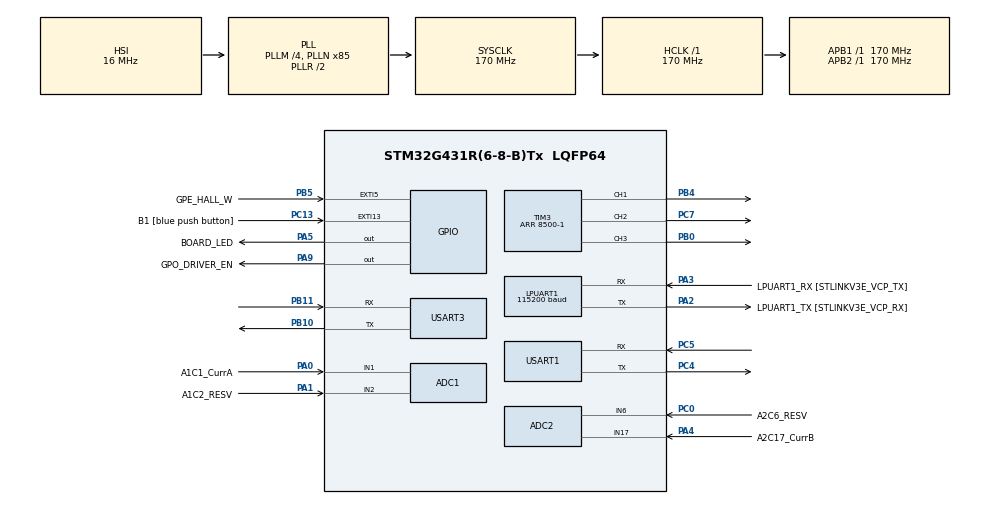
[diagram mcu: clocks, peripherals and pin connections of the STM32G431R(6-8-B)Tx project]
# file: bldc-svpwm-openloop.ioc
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ADC1.Channel-0\#ChannelRegularConversion=ADC_CHANNEL_1
ADC1.Channel-1\#ChannelRegularConversion=ADC_CHANNEL_2
ADC1.ContinuousConvMode=ENABLE
ADC1.DMAAccessModeView=ENABLE
ADC1.DMAContinuousRequests=ENABLE
ADC1.EOCSelection=ADC_EOC_SINGLE_CONV
ADC1.EnableInjectedConversion=DISABLE
ADC1.ExternalTrigConv=ADC_SOFTWARE_START
ADC1.Mode=ADC_DUALMODE_REGSIMULT
ADC1.NbrOfConversion=2
ADC1.NbrOfConversionFlag=1
ADC1.OffsetNumber-0\#ChannelRegularConversion=ADC_OFFSET_NONE
ADC1.OffsetNumber-1\#ChannelRegularConversion=ADC_OFFSET_NONE
ADC1.Rank-0\#ChannelRegularConversion=1
ADC1.Rank-1\#ChannelRegularConversion=2
ADC1.SamplingTime-0\#ChannelRegularConversion=ADC_SAMPLETIME_92CYCLES_5
ADC1.SamplingTime-1\#ChannelRegularConversion=ADC_SAMPLETIME_92CYCLES_5
ADC1.TwoSamplingDelay=ADC_TWOSAMPLINGDELAY_4CYCLES
ADC1.master=1
ADC2.Channel-0\#ChannelRegularConversion=ADC_CHANNEL_17
ADC2.Channel-1\#ChannelRegularConversion=ADC_CHANNEL_6
ADC2.ContinuousConvMode=ENABLE
ADC2.DMAAccessModeView=ENABLE
ADC2.DMAContinuousRequests=DISABLE
ADC2.EOCSelection=ADC_EOC_SINGLE_CONV
ADC2.Mode=ADC_DUALMODE_REGSIMULT
ADC2.NbrOfConversion=2
ADC2.NbrOfConversionFlag=1
ADC2.OffsetNumber-0\#ChannelRegularConversion=ADC_OFFSET_NONE
ADC2.OffsetNumber-1\#ChannelRegularConversion=ADC_OFFSET_NONE
ADC2.Rank-0\#ChannelRegularConversion=1
ADC2.Rank-1\#ChannelRegularConversion=2
ADC2.SamplingTime-0\#ChannelRegularConversion=ADC_SAMPLETIME_92CYCLES_5
ADC2.SamplingTime-1\#ChannelRegularConversion=ADC_SAMPLETIME_92CYCLES_5
ADC2.TwoSamplingDelay=ADC_TWOSAMPLINGDELAY_4CYCLES
Dma.ADC1.0.Direction=DMA_PERIPH_TO_MEMORY
Dma.ADC1.0.EventEnable=DISABLE
Dma.ADC1.0.Instance=DMA1_Channel1
Dma.ADC1.0.MemDataAlignment=DMA_MDATAALIGN_WORD
Dma.ADC1.0.MemInc=DMA_MINC_ENABLE
Dma.ADC1.0.Mode=DMA_CIRCULAR
Dma.ADC1.0.PeriphDataAlignment=DMA_PDATAALIGN_WORD
Dma.ADC1.0.PeriphInc=DMA_PINC_DISABLE
Dma.ADC1.0.Polarity=HAL_DMAMUX_REQ_GEN_RISING
Dma.ADC1.0.Priority=DMA_PRIORITY_LOW
Dma.ADC1.0.RequestNumber=1
Dma.ADC1.0.SignalID=NONE
Dma.ADC1.0.SyncEnable=DISABLE
Dma.ADC1.0.SyncPolarity=HAL_DMAMUX_SYNC_NO_EVENT
Dma.ADC1.0.SyncRequestNumber=1
Dma.ADC1.0.SyncSignalID=NONE
Dma.Request0=ADC1
LPUART1.BaudRate=115200
LPUART1.WordLength=UART_WORDLENGTH_8B
Mcu.Family=STM32G4
Mcu.Name=STM32G431R(6-8-B)Tx
Mcu.Package=LQFP64
NVIC.ADC1_2_IRQn=true\:0\:0\:false\:false\:true\:true\:true\:true
NVIC.DMA1_Channel1_IRQn=true\:0\:0\:false\:false\:true\:false\:true\:true
NVIC.LPUART1_IRQn=true\:0\:0\:false\:false\:true\:true\:true\:true
NVIC.PriorityGroup=NVIC_PRIORITYGROUP_4
NVIC.TIM3_IRQn=true\:0\:0\:false\:false\:true\:true\:true\:true
NVIC.TIM6_DAC_IRQn=true\:0\:0\:false\:false\:true\:true\:true\:true
PA0.GPIO_Label=A1C1_CurrA
PA0.Mode=IN1-Single-Ended
PA0.Signal=ADC1_IN1
PA1.GPIO_Label=A1C2_RESV
PA1.Mode=IN2-Single-Ended
PA1.Signal=ADC1_IN2
PA13.GPIO_Label=T_SWDIO
PA13.Mode=Serial_Wire
PA13.Signal=SYS_JTMS-SWDIO
PA14.GPIO_Label=T_SWCLK
PA14.Mode=Serial_Wire
PA14.Signal=SYS_JTCK-SWCLK
PA2.GPIO_Label=LPUART1_TX [STLINKV3E_VCP_RX]
PA2.Mode=Asynchronous
PA2.Signal=LPUART1_TX
PA3.GPIO_Label=LPUART1_RX [STLINKV3E_VCP_TX]
PA3.Mode=Asynchronous
PA3.Signal=LPUART1_RX
PA4.GPIO_Label=A2C17_CurrB
PA4.Mode=IN17-Single-Ended
PA4.Signal=ADC2_IN17
PA5.GPIO_Label=BOARD_LED
PA5.Signal=GPIO_Output
PA9.GPIO_Label=GPO_DRIVER_EN
PA9.Signal=GPIO_Output
PB0.Signal=S_TIM3_CH3
PB10.Mode=Asynchronous
PB10.Signal=USART3_TX
PB11.Mode=Asynchronous
PB11.Signal=USART3_RX
PB4.Signal=S_TIM3_CH1
PB5.GPIO_Label=GPE_HALL_W
PB5.Signal=GPXTI5
PC0.GPIO_Label=A2C6_RESV
PC0.Mode=IN6-Single-Ended
PC0.Signal=ADC2_IN6
PC13.GPIO_Label=B1 [blue push button]
PC13.Signal=GPXTI13
PC14-OSC32_IN.Mode=LSE-External-Oscillator
PC14-OSC32_IN.Signal=RCC_OSC32_IN
PC15-OSC32_OUT.Mode=LSE-External-Oscillator
PC15-OSC32_OUT.Signal=RCC_OSC32_OUT
PC4.Mode=Asynchronous
PC4.Signal=USART1_TX
PC5.Mode=Asynchronous
PC5.Signal=USART1_RX
PC7.Signal=S_TIM3_CH2
PF0-OSC_IN.Mode=HSE-External-Oscillator
PF0-OSC_IN.Signal=RCC_OSC_IN
PF1-OSC_OUT.Mode=HSE-External-Oscillator
PF1-OSC_OUT.Signal=RCC_OSC_OUT
ProjectManager.HeapSize=0x200
ProjectManager.StackSize=0x400
ProjectManager.TargetToolchain=STM32CubeIDE
RCC.ADC12Freq_Value=170000000
RCC.AHBFreq_Value=170000000
RCC.APB1Freq_Value=170000000
RCC.APB1TimFreq_Value=170000000
RCC.APB2Freq_Value=170000000
RCC.APB2TimFreq_Value=170000000
RCC.CortexFreq_Value=170000000
RCC.EXTERNAL_CLOCK_VALUE=12288000
RCC.HCLKFreq_Value=170000000
RCC.HSE_VALUE=24000000
RCC.HSI48_VALUE=48000000
RCC.HSI_VALUE=16000000
RCC.PLLM=RCC_PLLM_DIV4
RCC.PLLN=85
RCC.RTCClockSelection=RCC_RTCCLKSOURCE_LSE
RCC.SYSCLKFreq_VALUE=170000000
RCC.SYSCLKSource=RCC_SYSCLKSOURCE_PLLCLK
RCC.USBFreq_Value=170000000
RCC.VCOOutputFreq_Value=340000000
SH.S_TIM3_CH1.0=TIM3_CH1,PWM Generation1 CH1
SH.S_TIM3_CH2.0=TIM3_CH2,PWM Generation2 CH2
SH.S_TIM3_CH3.0=TIM3_CH3,PWM Generation3 CH3
TIM3.Channel-PWM\ Generation1\ CH1=TIM_CHANNEL_1
TIM3.Channel-PWM\ Generation2\ CH2=TIM_CHANNEL_2
TIM3.Channel-PWM\ Generation3\ CH3=TIM_CHANNEL_3
TIM3.CounterMode=TIM_COUNTERMODE_CENTERALIGNED1
TIM3.PeriodNoDither=8500-1
TIM6.PeriodNoDither=1000-1
TIM6.Prescaler=170-1
TIM6.TIM_MasterOutputTrigger=TIM_TRGO_UPDATE
USART1.VirtualMode-Asynchronous=VM_ASYNC
USART3.VirtualMode-Asynchronous=VM_ASYNC
VP_SYS_VS_DBSignals.Mode=DisableDeadBatterySignals
VP_TIM6_VS_ClockSourceINT.Mode=Enable_Timer
board=NUCLEO-G431RB

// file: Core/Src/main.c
/* USER CODE BEGIN Header */
/**
  ******************************************************************************
  * @file           : main.c
  * @brief          : Main program body
  ******************************************************************************
  * @attention
  *
  * Copyright (c) 2026 STMicroelectronics.
  * All rights reserved.
  *
  * This software is licensed under terms that can be found in the LICENSE file
  * in the root directory of this software component.
  * If no LICENSE file comes with this software, it is provided AS-IS.
  *
  ******************************************************************************
  */
/* USER CODE END Header */
#include "main.h"

/* USER CODE BEGIN Includes */
#include "svpwm.h"
#include <math.h>
/* USER CODE END Includes */

ADC_HandleTypeDef hadc1;
ADC_HandleTypeDef hadc2;
DMA_HandleTypeDef hdma_adc1;

UART_HandleTypeDef hlpuart1;
UART_HandleTypeDef huart1;
UART_HandleTypeDef huart3;

TIM_HandleTypeDef htim3;
TIM_HandleTypeDef htim6;

void SystemClock_Config(void);
static void MX_GPIO_Init(void);
static void MX_DMA_Init(void);
static void MX_ADC1_Init(void);
static void MX_LPUART1_UART_Init(void);
static void MX_TIM3_Init(void);
static void MX_TIM6_Init(void);
static void MX_ADC2_Init(void);
static void MX_USART1_UART_Init(void);
static void MX_USART3_UART_Init(void);

/* USER CODE BEGIN 0 */
// 주파수 200hrz / V: 0.05  -> 최초로 모터 돌아감
// 주파수 400hrz / V: 0.08  -> 위에보다 더 빨리 돌아감

static float g_test_hrz = 200.0f;
static float g_test_v = 0.03f;
static uint8_t g_spd_set = 0;
/* USER CODE END 0 */

int main(void)
{

  /* MCU Configuration--------------------------------------------------------*/

  /* Reset of all peripherals, Initializes the Flash interface and the Systick. */
  HAL_Init();

  /* Configure the system clock */
  SystemClock_Config();

  /* Initialize all configured peripherals */
  MX_GPIO_Init();
  MX_DMA_Init();
  MX_ADC1_Init();
  MX_LPUART1_UART_Init();
  MX_TIM3_Init();
  MX_TIM6_Init();
  MX_ADC2_Init();
  MX_USART1_UART_Init();
  MX_USART3_UART_Init();
  /* USER CODE BEGIN 2 */

  HAL_TIM_PWM_Start(&htim3, TIM_CHANNEL_1);
  HAL_TIM_PWM_Start(&htim3, TIM_CHANNEL_2);
  HAL_TIM_PWM_Start(&htim3, TIM_CHANNEL_3);

  HAL_Delay(100);

  // simpleFoc V2 L6234 #7
  __HAL_TIM_SetCompare(&htim3, TIM_CHANNEL_1, 3000);

  // simpleFoc V2 L6234 #4
  __HAL_TIM_SetCompare(&htim3, TIM_CHANNEL_2, 1500);

  // simpleFoc V2 L6234 #14
  __HAL_TIM_SetCompare(&htim3, TIM_CHANNEL_3, 4500);

  HAL_Delay(1000);

  HAL_GPIO_WritePin(GPO_DRIVER_EN_GPIO_Port, GPO_DRIVER_EN_Pin, 0);
  __HAL_TIM_SetCompare(&htim3, TIM_CHANNEL_1, 0);
  __HAL_TIM_SetCompare(&htim3, TIM_CHANNEL_2, 0);
  __HAL_TIM_SetCompare(&htim3, TIM_CHANNEL_3, 0);

  HAL_Delay(1000);

  SVPWM_Init(&htim3);
  HAL_TIM_Base_Start_IT(&htim6);
  HAL_GPIO_WritePin(GPO_DRIVER_EN_GPIO_Port, GPO_DRIVER_EN_Pin, 1);

  OpenLoop_SetSpeed(g_test_hrz, g_test_v);
  /* USER CODE END 2 */

  /* Infinite loop */
  /* USER CODE BEGIN WHILE */
  while (1)
  {
	 if(g_spd_set != 0){
		 g_spd_set = 0;
		 OpenLoop_SetSpeed(g_test_hrz, g_test_v);
	 }
    /* USER CODE END WHILE */

    /* USER CODE BEGIN 3 */
	//HAL_GPIO_TogglePin(GPO_DRIVER_EN_GPIO_Port, GPO_DRIVER_EN_Pin);
	HAL_Delay(2);
  }
  /* USER CODE END 3 */
}

void SystemClock_Config(void)
{
  RCC_OscInitTypeDef RCC_OscInitStruct = {0};
  RCC_ClkInitTypeDef RCC_ClkInitStruct = {0};

  /** Configure the main internal regulator output voltage
  */
  HAL_PWREx_ControlVoltageScaling(PWR_REGULATOR_VOLTAGE_SCALE1_BOOST);

  /** Initializes the RCC Oscillators according to the specified parameters
  * in the RCC_OscInitTypeDef structure.
  */
  RCC_OscInitStruct.OscillatorType = RCC_OSCILLATORTYPE_HSI;
  RCC_OscInitStruct.HSIState = RCC_HSI_ON;
  RCC_OscInitStruct.HSICalibrationValue = RCC_HSICALIBRATION_DEFAULT;
  RCC_OscInitStruct.PLL.PLLState = RCC_PLL_ON;
  RCC_OscInitStruct.PLL.PLLSource = RCC_PLLSOURCE_HSI;
  RCC_OscInitStruct.PLL.PLLM = RCC_PLLM_DIV4;
  RCC_OscInitStruct.PLL.PLLN = 85;
  RCC_OscInitStruct.PLL.PLLP = RCC_PLLP_DIV2;
  RCC_OscInitStruct.PLL.PLLQ = RCC_PLLQ_DIV2;
  RCC_OscInitStruct.PLL.PLLR = RCC_PLLR_DIV2;
  if (HAL_RCC_OscConfig(&RCC_OscInitStruct) != HAL_OK)
  {
    Error_Handler();
  }

  /** Initializes the CPU, AHB and APB buses clocks
  */
  RCC_ClkInitStruct.ClockType = RCC_CLOCKTYPE_HCLK|RCC_CLOCKTYPE_SYSCLK
                              |RCC_CLOCKTYPE_PCLK1|RCC_CLOCKTYPE_PCLK2;
  RCC_ClkInitStruct.SYSCLKSource = RCC_SYSCLKSOURCE_PLLCLK;
  RCC_ClkInitStruct.AHBCLKDivider = RCC_SYSCLK_DIV1;
  RCC_ClkInitStruct.APB1CLKDivider = RCC_HCLK_DIV1;
  RCC_ClkInitStruct.APB2CLKDivider = RCC_HCLK_DIV1;

  if (HAL_RCC_ClockConfig(&RCC_ClkInitStruct, FLASH_LATENCY_4) != HAL_OK)
  {
    Error_Handler();
  }
}

static void MX_ADC1_Init(void)
{

  ADC_MultiModeTypeDef multimode = {0};
  ADC_ChannelConfTypeDef sConfig = {0};

  /** Common config
  */
  hadc1.Instance = ADC1;
  hadc1.Init.ClockPrescaler = ADC_CLOCK_SYNC_PCLK_DIV4;
  hadc1.Init.Resolution = ADC_RESOLUTION_12B;
  hadc1.Init.DataAlign = ADC_DATAALIGN_RIGHT;
  hadc1.Init.GainCompensation = 0;
  hadc1.Init.ScanConvMode = ADC_SCAN_ENABLE;
  hadc1.Init.EOCSelection = ADC_EOC_SINGLE_CONV;
  hadc1.Init.LowPowerAutoWait = DISABLE;
  hadc1.Init.ContinuousConvMode = ENABLE;
  hadc1.Init.NbrOfConversion = 2;
  hadc1.Init.DiscontinuousConvMode = DISABLE;
  hadc1.Init.ExternalTrigConv = ADC_SOFTWARE_START;
  hadc1.Init.ExternalTrigConvEdge = ADC_EXTERNALTRIGCONVEDGE_NONE;
  hadc1.Init.DMAContinuousRequests = ENABLE;
  hadc1.Init.Overrun = ADC_OVR_DATA_PRESERVED;
  hadc1.Init.OversamplingMode = DISABLE;
  if (HAL_ADC_Init(&hadc1) != HAL_OK)
  {
    Error_Handler();
  }

  /** Configure the ADC multi-mode
  */
  multimode.Mode = ADC_DUALMODE_REGSIMULT;
  multimode.DMAAccessMode = ADC_DMAACCESSMODE_12_10_BITS;
  multimode.TwoSamplingDelay = ADC_TWOSAMPLINGDELAY_4CYCLES;
  if (HAL_ADCEx_MultiModeConfigChannel(&hadc1, &multimode) != HAL_OK)
  {
    Error_Handler();
  }

  /** Configure Regular Channel
  */
  sConfig.Channel = ADC_CHANNEL_1;
  sConfig.Rank = ADC_REGULAR_RANK_1;
  sConfig.SamplingTime = ADC_SAMPLETIME_92CYCLES_5;
  sConfig.SingleDiff = ADC_SINGLE_ENDED;
  sConfig.OffsetNumber = ADC_OFFSET_NONE;
  sConfig.Offset = 0;
  if (HAL_ADC_ConfigChannel(&hadc1, &sConfig) != HAL_OK)
  {
    Error_Handler();
  }

  /** Configure Regular Channel
  */
  sConfig.Channel = ADC_CHANNEL_2;
  sConfig.Rank = ADC_REGULAR_RANK_2;
  if (HAL_ADC_ConfigChannel(&hadc1, &sConfig) != HAL_OK)
  {
    Error_Handler();
  }

}

static void MX_ADC2_Init(void)
{

  ADC_ChannelConfTypeDef sConfig = {0};

  /** Common config
  */
  hadc2.Instance = ADC2;
  hadc2.Init.ClockPrescaler = ADC_CLOCK_SYNC_PCLK_DIV4;
  hadc2.Init.Resolution = ADC_RESOLUTION_12B;
  hadc2.Init.DataAlign = ADC_DATAALIGN_RIGHT;
  hadc2.Init.GainCompensation = 0;
  hadc2.Init.ScanConvMode = ADC_SCAN_ENABLE;
  hadc2.Init.EOCSelection = ADC_EOC_SINGLE_CONV;
  hadc2.Init.LowPowerAutoWait = DISABLE;
  hadc2.Init.ContinuousConvMode = ENABLE;
  hadc2.Init.NbrOfConversion = 2;
  hadc2.Init.DiscontinuousConvMode = DISABLE;
  hadc2.Init.DMAContinuousRequests = DISABLE;
  hadc2.Init.Overrun = ADC_OVR_DATA_PRESERVED;
  hadc2.Init.OversamplingMode = DISABLE;
  if (HAL_ADC_Init(&hadc2) != HAL_OK)
  {
    Error_Handler();
  }

  /** Configure Regular Channel
  */
  sConfig.Channel = ADC_CHANNEL_17;
  sConfig.Rank = ADC_REGULAR_RANK_1;
  sConfig.SamplingTime = ADC_SAMPLETIME_92CYCLES_5;
  sConfig.SingleDiff = ADC_SINGLE_ENDED;
  sConfig.OffsetNumber = ADC_OFFSET_NONE;
  sConfig.Offset = 0;
  if (HAL_ADC_ConfigChannel(&hadc2, &sConfig) != HAL_OK)
  {
    Error_Handler();
  }

  /** Configure Regular Channel
  */
  sConfig.Channel = ADC_CHANNEL_6;
  sConfig.Rank = ADC_REGULAR_RANK_2;
  if (HAL_ADC_ConfigChannel(&hadc2, &sConfig) != HAL_OK)
  {
    Error_Handler();
  }

}

static void MX_LPUART1_UART_Init(void)
{

  hlpuart1.Instance = LPUART1;
  hlpuart1.Init.BaudRate = 115200;
  hlpuart1.Init.WordLength = UART_WORDLENGTH_8B;
  hlpuart1.Init.StopBits = UART_STOPBITS_1;
  hlpuart1.Init.Parity = UART_PARITY_NONE;
  hlpuart1.Init.Mode = UART_MODE_TX_RX;
  hlpuart1.Init.HwFlowCtl = UART_HWCONTROL_NONE;
  hlpuart1.Init.OneBitSampling = UART_ONE_BIT_SAMPLE_DISABLE;
  hlpuart1.Init.ClockPrescaler = UART_PRESCALER_DIV1;
  hlpuart1.AdvancedInit.AdvFeatureInit = UART_ADVFEATURE_NO_INIT;
  if (HAL_UART_Init(&hlpuart1) != HAL_OK)
  {
    Error_Handler();
  }
  if (HAL_UARTEx_SetTxFifoThreshold(&hlpuart1, UART_TXFIFO_THRESHOLD_1_8) != HAL_OK)
  {
    Error_Handler();
  }
  if (HAL_UARTEx_SetRxFifoThreshold(&hlpuart1, UART_RXFIFO_THRESHOLD_1_8) != HAL_OK)
  {
    Error_Handler();
  }
  if (HAL_UARTEx_DisableFifoMode(&hlpuart1) != HAL_OK)
  {
    Error_Handler();
  }

}

static void MX_USART1_UART_Init(void)
{

  huart1.Instance = USART1;
  huart1.Init.BaudRate = 115200;
  huart1.Init.WordLength = UART_WORDLENGTH_8B;
  huart1.Init.StopBits = UART_STOPBITS_1;
  huart1.Init.Parity = UART_PARITY_NONE;
  huart1.Init.Mode = UART_MODE_TX_RX;
  huart1.Init.HwFlowCtl = UART_HWCONTROL_NONE;
  huart1.Init.OverSampling = UART_OVERSAMPLING_16;
  huart1.Init.OneBitSampling = UART_ONE_BIT_SAMPLE_DISABLE;
  huart1.Init.ClockPrescaler = UART_PRESCALER_DIV1;
  huart1.AdvancedInit.AdvFeatureInit = UART_ADVFEATURE_NO_INIT;
  if (HAL_UART_Init(&huart1) != HAL_OK)
  {
    Error_Handler();
  }
  if (HAL_UARTEx_SetTxFifoThreshold(&huart1, UART_TXFIFO_THRESHOLD_1_8) != HAL_OK)
  {
    Error_Handler();
  }
  if (HAL_UARTEx_SetRxFifoThreshold(&huart1, UART_RXFIFO_THRESHOLD_1_8) != HAL_OK)
  {
    Error_Handler();
  }
  if (HAL_UARTEx_DisableFifoMode(&huart1) != HAL_OK)
  {
    Error_Handler();
  }

}

static void MX_USART3_UART_Init(void)
{

  huart3.Instance = USART3;
  huart3.Init.BaudRate = 115200;
  huart3.Init.WordLength = UART_WORDLENGTH_8B;
  huart3.Init.StopBits = UART_STOPBITS_1;
  huart3.Init.Parity = UART_PARITY_NONE;
  huart3.Init.Mode = UART_MODE_TX_RX;
  huart3.Init.HwFlowCtl = UART_HWCONTROL_NONE;
  huart3.Init.OverSampling = UART_OVERSAMPLING_16;
  huart3.Init.OneBitSampling = UART_ONE_BIT_SAMPLE_DISABLE;
  huart3.Init.ClockPrescaler = UART_PRESCALER_DIV1;
  huart3.AdvancedInit.AdvFeatureInit = UART_ADVFEATURE_NO_INIT;
  if (HAL_UART_Init(&huart3) != HAL_OK)
  {
    Error_Handler();
  }
  if (HAL_UARTEx_SetTxFifoThreshold(&huart3, UART_TXFIFO_THRESHOLD_1_8) != HAL_OK)
  {
    Error_Handler();
  }
  if (HAL_UARTEx_SetRxFifoThreshold(&huart3, UART_RXFIFO_THRESHOLD_1_8) != HAL_OK)
  {
    Error_Handler();
  }
  if (HAL_UARTEx_DisableFifoMode(&huart3) != HAL_OK)
  {
    Error_Handler();
  }

}

static void MX_TIM3_Init(void)
{

  TIM_MasterConfigTypeDef sMasterConfig = {0};
  TIM_OC_InitTypeDef sConfigOC = {0};

  htim3.Instance = TIM3;
  htim3.Init.Prescaler = 0;
  htim3.Init.CounterMode = TIM_COUNTERMODE_CENTERALIGNED1;
  htim3.Init.Period = 8499;
  htim3.Init.ClockDivision = TIM_CLOCKDIVISION_DIV1;
  htim3.Init.AutoReloadPreload = TIM_AUTORELOAD_PRELOAD_DISABLE;
  if (HAL_TIM_PWM_Init(&htim3) != HAL_OK)
  {
    Error_Handler();
  }
  sMasterConfig.MasterOutputTrigger = TIM_TRGO_RESET;
  sMasterConfig.MasterSlaveMode = TIM_MASTERSLAVEMODE_DISABLE;
  if (HAL_TIMEx_MasterConfigSynchronization(&htim3, &sMasterConfig) != HAL_OK)
  {
    Error_Handler();
  }
  sConfigOC.OCMode = TIM_OCMODE_PWM1;
  sConfigOC.Pulse = 0;
  sConfigOC.OCPolarity = TIM_OCPOLARITY_HIGH;
  sConfigOC.OCFastMode = TIM_OCFAST_DISABLE;
  if (HAL_TIM_PWM_ConfigChannel(&htim3, &sConfigOC, TIM_CHANNEL_1) != HAL_OK)
  {
    Error_Handler();
  }
  if (HAL_TIM_PWM_ConfigChannel(&htim3, &sConfigOC, TIM_CHANNEL_2) != HAL_OK)
  {
    Error_Handler();
  }
  if (HAL_TIM_PWM_ConfigChannel(&htim3, &sConfigOC, TIM_CHANNEL_3) != HAL_OK)
  {
    Error_Handler();
  }
  HAL_TIM_MspPostInit(&htim3);

}

static void MX_TIM6_Init(void)
{

  TIM_MasterConfigTypeDef sMasterConfig = {0};

  htim6.Instance = TIM6;
  htim6.Init.Prescaler = 170-1;
  htim6.Init.CounterMode = TIM_COUNTERMODE_UP;
  htim6.Init.Period = 999;
  htim6.Init.AutoReloadPreload = TIM_AUTORELOAD_PRELOAD_DISABLE;
  if (HAL_TIM_Base_Init(&htim6) != HAL_OK)
  {
    Error_Handler();
  }
  sMasterConfig.MasterOutputTrigger = TIM_TRGO_UPDATE;
  sMasterConfig.MasterSlaveMode = TIM_MASTERSLAVEMODE_DISABLE;
  if (HAL_TIMEx_MasterConfigSynchronization(&htim6, &sMasterConfig) != HAL_OK)
  {
    Error_Handler();
  }

}

static void MX_DMA_Init(void)
{

  /* DMA controller clock enable */
  __HAL_RCC_DMAMUX1_CLK_ENABLE();
  __HAL_RCC_DMA1_CLK_ENABLE();

  /* DMA interrupt init */
  /* DMA1_Channel1_IRQn interrupt configuration */
  HAL_NVIC_SetPriority(DMA1_Channel1_IRQn, 0, 0);
  HAL_NVIC_EnableIRQ(DMA1_Channel1_IRQn);

}

static void MX_GPIO_Init(void)
{
  GPIO_InitTypeDef GPIO_InitStruct = {0};

  /* GPIO Ports Clock Enable */
  __HAL_RCC_GPIOC_CLK_ENABLE();
  __HAL_RCC_GPIOF_CLK_ENABLE();
  __HAL_RCC_GPIOA_CLK_ENABLE();
  __HAL_RCC_GPIOB_CLK_ENABLE();

  /*Configure GPIO pin Output Level */
  HAL_GPIO_WritePin(GPIOA, BOARD_LED_Pin|GPO_DRIVER_EN_Pin, GPIO_PIN_RESET);

  /*Configure GPIO pin : B1_Pin */
  GPIO_InitStruct.Pin = B1_Pin;
  GPIO_InitStruct.Mode = GPIO_MODE_IT_RISING;
  GPIO_InitStruct.Pull = GPIO_NOPULL;
  HAL_GPIO_Init(B1_GPIO_Port, &GPIO_InitStruct);

  /*Configure GPIO pins : BOARD_LED_Pin GPO_DRIVER_EN_Pin */
  GPIO_InitStruct.Pin = BOARD_LED_Pin|GPO_DRIVER_EN_Pin;
  GPIO_InitStruct.Mode = GPIO_MODE_OUTPUT_PP;
  GPIO_InitStruct.Pull = GPIO_NOPULL;
  GPIO_InitStruct.Speed = GPIO_SPEED_FREQ_LOW;
  HAL_GPIO_Init(GPIOA, &GPIO_InitStruct);

  /*Configure GPIO pin : GPE_HALL_W_Pin */
  GPIO_InitStruct.Pin = GPE_HALL_W_Pin;
  GPIO_InitStruct.Mode = GPIO_MODE_IT_RISING;
  GPIO_InitStruct.Pull = GPIO_NOPULL;
  HAL_GPIO_Init(GPE_HALL_W_GPIO_Port, &GPIO_InitStruct);

}

void Error_Handler(void)
{
  __disable_irq();
  while (1)
  {
  }
}
